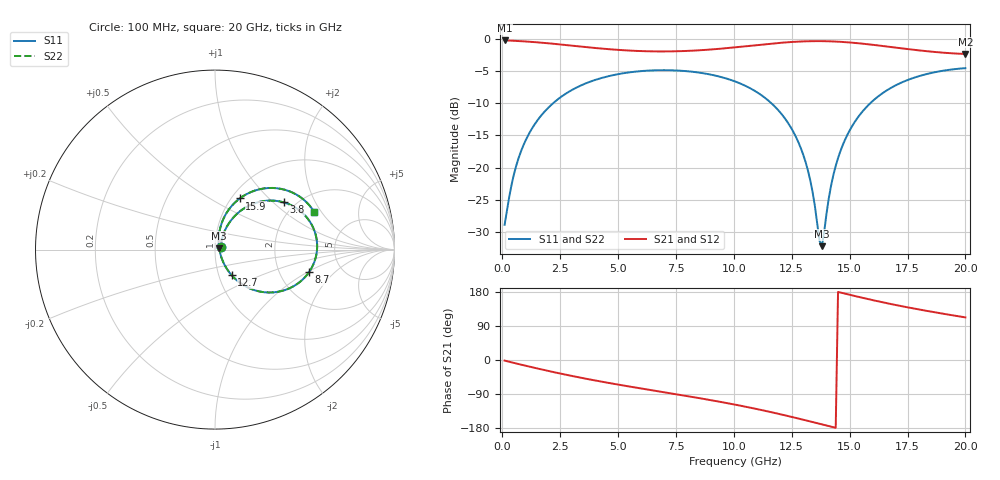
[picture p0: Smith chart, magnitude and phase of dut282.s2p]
! Touchstone file exported from HFSS 2026.1.0
!  File:  C:/ffzhzh/LocalFiles/Ansys_Project_Files/temp_train_TSV_RDL_282_1783086118_37648.aedt
!  Generated:  09:53:06 PM Jul  3, 2026
!  Design:  TSV_RDL
!  Project:  temp_train_TSV_RDL_282_1783086118_37648
! Variables:
!  h_bsmrdl = 2.72um
!  h_ox = 20um
!  h_rdl = 5um
!  h_sub = 75.27um
!  h_tmrdl = 2.13um
!  h_tsv = 75.27um
!  h_via = 3um
!  l_bsmrdl = 155.34um
!  l_sub = 3914.04um
!  l_tmrdl = 730.73um
!  m_sub = 200um
!  pitch = 54.37um
!  r_tsv = 14.89um
!  s_tmrdl = 10um
!  w_bsmrdl = 25.34um
!  w_sub = 500um
!  w_tmrdl = 16.36um
!  x_tsv_center1 = 738.91um
!  x_tsv_center2 = 919.59um
!  x_tsv_center3 = 1666.68um
!  x_tsv_center4 = 1847.36um
!  x_tsv_center5 = 2594.45um
!  x_tsv_center6 = 2775.13um
# GHz S MA R 50.000000
! Terminal data exported
! Port[1] = TM_RDL1_1_T1
! Port[2] = TM_RDL5_1_T1
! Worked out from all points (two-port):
!   200 points, 100 MHz to 20 GHz, reference 50 ohm
!   highest |S21| = -0.28 dB at 100 MHz (marker M1); lowest = -2.4 dB at 20 GHz (marker M2)
!   |S21| within 3 dB of the highest: start of sweep to end of sweep
!   lowest |S11| = -32.2 dB at 13.8 GHz (marker M3), VSWR 1.05, Z = 52.4 + j0.811 ohm
!   |S11| at or under -10 dB: start of sweep to 2.196 GHz; 11.62 GHz to 15.89 GHz (4.275 GHz wide, 31.1 % of centre)
!   |S22| runs from -32.1 to -4.6 dB; largest |S21 - S12| = 1.7e-14
!   S11 on the Smith chart (normalised r, x): 100 MHz: 1.07, +0.03; 3.8 GHz: 1.74, +1.17; 8.7 GHz: 2.92, -1.04; 12.7 GHz: 1.15, -0.34; 15.9 GHz: 1.09, +0.69; 20 GHz: 2.65, +1.72
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0.1  0.03614 26.2  0.9679 -1.6  0.9679 -1.6  0.03614 26.2
! Gamma 0 0 0 0
! Port Impedance 50 0 50 0
0.6  0.1034 61.8  0.9602 -9.2  0.9602 -9.2  0.1034 61.8
1.2  0.1899 61.1  0.9454 -17.9  0.9454 -17.9  0.1899 61.1
2.2  0.3167 51.7  0.9126 -31.7  0.9126 -31.7  0.3167 51.7
3.5  0.4421 37.7  0.8639 -48.1  0.8639 -48.1  0.4421 37.7
3.8  0.4644 34.5  0.8532 -51.6  0.8532 -51.6  0.4644 34.5
6.8  0.5695 4.9  0.7956 -83.3  0.7956 -83.3  0.5695 4.9
8.7  0.5386 -13.5  0.8163 -102.7  0.8163 -102.7  0.5386 -13.5
10.1  0.4625 -28.2  0.8579 -118.3  0.8579 -118.3  0.4625 -28.2
11.6  0.3185 -45.5  0.9139 -137.4  0.9139 -137.4  0.3185 -45.4
12.7  0.1706 -57.0  0.9465 -153.2  0.9465 -153.2  0.1706 -56.9
13.1  0.1104 -58.3  0.9533 -159.1  0.9533 -159.1  0.1104 -58.2
13.4  0.06498 -53.4  0.956 -163.7  0.956 -163.7  0.06498 -53.4
13.7  0.02714 -16.2  0.9565 -168.3  0.9565 -168.3  0.02721 -16.0
13.8  0.02468 18.3  0.9562 -169.8  0.9562 -169.8  0.02478 18.3
14.2  0.0728 73.1  0.9525 -175.9  0.9525 -175.9  0.07286 73.1
14.5  0.1188 76.4  0.9471 179.6  0.9471 179.6  0.1188 76.4
15.1  0.2089 72.9  0.9307 170.7  0.9307 170.7  0.2089 72.8
15.9  0.3171 64.1  0.9001 159.3  0.9001 159.3  0.3171 64.1
16.7  0.407 54.8  0.8648 148.8  0.8648 148.8  0.4071 54.8
18.2  0.5245 38.5  0.8035 131.1  0.8035 131.1  0.5245 38.5
20  0.5905 21.0  0.7604 112.4  0.7604 112.4  0.5905 21.0
